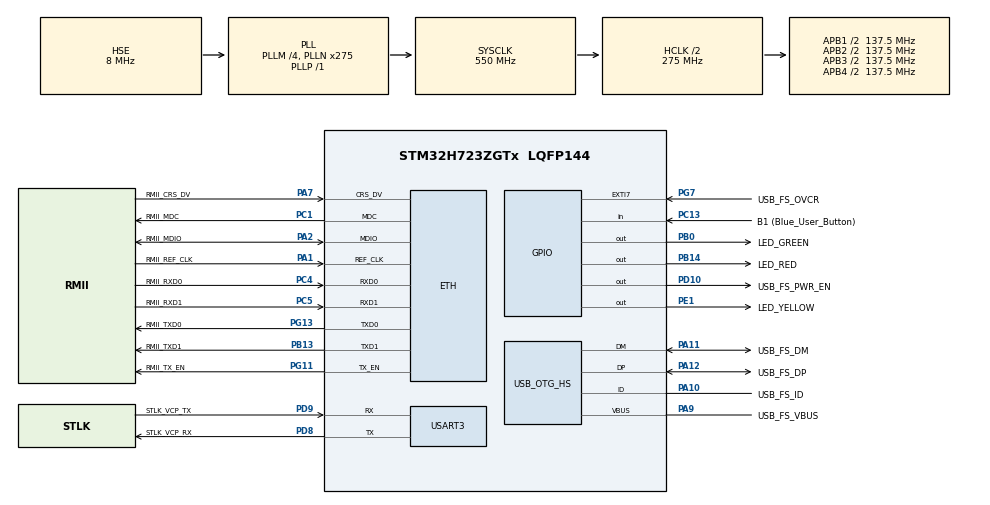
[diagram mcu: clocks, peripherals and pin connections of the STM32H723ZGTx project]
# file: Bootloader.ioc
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ETH.MediaInterface=HAL_ETH_RMII_MODE
Mcu.Family=STM32H7
Mcu.Name=STM32H723ZGTx
Mcu.Package=LQFP144
NVIC.PriorityGroup=NVIC_PRIORITYGROUP_4
PA1.GPIO_Label=RMII_REF_CLK
PA1.Mode=RMII
PA1.Signal=ETH_REF_CLK
PA10.GPIO_Label=USB_FS_ID
PA10.Mode=OTG/Dual-Role-Device-FS
PA10.Signal=USB_OTG_HS_ID
PA11.GPIO_Label=USB_FS_DM
PA11.Mode=OTG/Dual-Role-Device-FS
PA11.Signal=USB_OTG_HS_DM
PA12.GPIO_Label=USB_FS_DP
PA12.Mode=OTG/Dual-Role-Device-FS
PA12.Signal=USB_OTG_HS_DP
PA13(JTMS/SWDIO).GPIO_Label=SWDIO
PA13(JTMS/SWDIO).Mode=Trace_Asynchronous_SW
PA13(JTMS/SWDIO).Signal=DEBUG_JTMS-SWDIO
PA14(JTCK/SWCLK).GPIO_Label=SWCLK
PA14(JTCK/SWCLK).Mode=Trace_Asynchronous_SW
PA14(JTCK/SWCLK).Signal=DEBUG_JTCK-SWCLK
PA2.GPIO_Label=RMII_MDIO
PA2.Mode=RMII
PA2.Signal=ETH_MDIO
PA7.GPIO_Label=RMII_CRS_DV
PA7.Mode=RMII
PA7.Signal=ETH_CRS_DV
PA9.GPIO_Label=USB_FS_VBUS
PA9.Mode=Activate_VBUS_FS
PA9.Signal=USB_OTG_HS_VBUS
PB0.GPIO_Label=LED_GREEN
PB0.Signal=GPIO_Output
PB13.GPIO_Label=RMII_TXD1
PB13.Mode=RMII
PB13.Signal=ETH_TXD1
PB14.GPIO_Label=LED_RED
PB14.Signal=GPIO_Output
PB3(JTDO/TRACESWO).GPIO_Label=SWO
PB3(JTDO/TRACESWO).Mode=Trace_Asynchronous_SW
PB3(JTDO/TRACESWO).Signal=DEBUG_JTDO-SWO
PC1.GPIO_Label=RMII_MDC
PC1.Mode=RMII
PC1.Signal=ETH_MDC
PC13.GPIO_Label=B1 (Blue_User_Button)
PC13.Signal=GPIO_Input
PC14-OSC32_IN.Mode=LSE-External-Oscillator
PC14-OSC32_IN.Signal=RCC_OSC32_IN
PC15-OSC32_OUT.Mode=LSE-External-Oscillator
PC15-OSC32_OUT.Signal=RCC_OSC32_OUT
PC4.GPIO_Label=RMII_RXD0
PC4.Mode=RMII
PC4.Signal=ETH_RXD0
PC5.GPIO_Label=RMII_RXD1
PC5.Mode=RMII
PC5.Signal=ETH_RXD1
PD10.GPIO_Label=USB_FS_PWR_EN
PD10.Signal=GPIO_Output
PD8.GPIO_Label=STLK_VCP_RX
PD8.Mode=Asynchronous
PD8.Signal=USART3_TX
PD9.GPIO_Label=STLK_VCP_TX
PD9.Mode=Asynchronous
PD9.Signal=USART3_RX
PE1.GPIO_Label=LED_YELLOW
PE1.Signal=GPIO_Output
PG11.GPIO_Label=RMII_TX_EN
PG11.Mode=RMII
PG11.Signal=ETH_TX_EN
PG13.GPIO_Label=RMII_TXD0
PG13.Mode=RMII
PG13.Signal=ETH_TXD0
PG7.GPIO_Label=USB_FS_OVCR
PG7.Signal=GPXTI7
PH0-OSC_IN.GPIO_Label=MCO
PH0-OSC_IN.Mode=HSE-External-Clock-Source
PH0-OSC_IN.Signal=RCC_OSC_IN
PH1-OSC_OUT.Signal=RCC_OSC_OUT
ProjectManager.HeapSize=0x200
ProjectManager.StackSize=0x400
ProjectManager.TargetToolchain=STM32CubeIDE
RCC.ADCFreq_Value=76000000
RCC.APB1Freq_Value=137500000
RCC.APB2Freq_Value=137500000
RCC.APB3Freq_Value=137500000
RCC.APB4Freq_Value=137500000
RCC.CortexFreq_Value=550000000
RCC.D1PPRE=RCC_APB3_DIV2
RCC.D2PPRE1=RCC_APB1_DIV2
RCC.D2PPRE2=RCC_APB2_DIV2
RCC.D3PPRE=RCC_APB4_DIV2
RCC.DIVM1=4
RCC.DIVM2=1
RCC.DIVN1=275
RCC.DIVN2=19
RCC.DIVP1=1
RCC.DIVQ1=4
RCC.HCLKFreq_Value=275000000
RCC.HPRE=RCC_HCLK_DIV2
RCC.HSE_VALUE=8000000
RCC.PLLFRACN=0
RCC.PLLSourceVirtual=RCC_PLLSOURCE_HSE
RCC.SYSCLKFreq_VALUE=550000000
RCC.SYSCLKSource=RCC_SYSCLKSOURCE_PLLCLK
RCC.USBCLockSelection=RCC_USBCLKSOURCE_HSI48
RCC.USBFreq_Value=48000000
USART3.VirtualMode-Asynchronous=VM_ASYNC
board=NUCLEO-H723ZG

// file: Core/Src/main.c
/* USER CODE BEGIN Header */
/**
  ******************************************************************************
  * @file           : main.c
  * @brief          : Main program body
  ******************************************************************************
  * @attention
  *
  * <h2><center>&copy; Copyright (c) 2025 STMicroelectronics.
  * All rights reserved.</center></h2>
  *
  * This software component is licensed by ST under BSD 3-Clause license,
  * the "License"; You may not use this file except in compliance with the
  * License. You may obtain a copy of the License at:
  *                        opensource.org/licenses/BSD-3-Clause
  *
  ******************************************************************************
  */
/* USER CODE END Header */
#include "main.h"
#include "string.h"
#include <stdio.h>

#if defined ( __ICCARM__ ) /*!< IAR Compiler */

#pragma location=0x30040000
ETH_DMADescTypeDef  DMARxDscrTab[ETH_RX_DESC_CNT]; /* Ethernet Rx DMA Descriptors */
#pragma location=0x30040060
ETH_DMADescTypeDef  DMATxDscrTab[ETH_TX_DESC_CNT]; /* Ethernet Tx DMA Descriptors */
#pragma location=0x30040200
uint8_t Rx_Buff[ETH_RX_DESC_CNT][ETH_MAX_PACKET_SIZE]; /* Ethernet Receive Buffers */

#elif defined ( __CC_ARM )  /* MDK ARM Compiler */

__attribute__((at(0x30040000))) ETH_DMADescTypeDef  DMARxDscrTab[ETH_RX_DESC_CNT]; /* Ethernet Rx DMA Descriptors */
__attribute__((at(0x30040060))) ETH_DMADescTypeDef  DMATxDscrTab[ETH_TX_DESC_CNT]; /* Ethernet Tx DMA Descriptors */
__attribute__((at(0x30040200))) uint8_t Rx_Buff[ETH_RX_DESC_CNT][ETH_MAX_PACKET_SIZE]; /* Ethernet Receive Buffer */

#elif defined ( __GNUC__ ) /* GNU Compiler */

ETH_DMADescTypeDef DMARxDscrTab[ETH_RX_DESC_CNT] __attribute__((section(".RxDecripSection"))); /* Ethernet Rx DMA Descriptors */
ETH_DMADescTypeDef DMATxDscrTab[ETH_TX_DESC_CNT] __attribute__((section(".TxDecripSection")));   /* Ethernet Tx DMA Descriptors */
uint8_t Rx_Buff[ETH_RX_DESC_CNT][ETH_MAX_PACKET_SIZE] __attribute__((section(".RxArraySection"))); /* Ethernet Receive Buffers */

#endif

ETH_TxPacketConfig TxConfig;

ETH_HandleTypeDef heth;

UART_HandleTypeDef huart3;

void SystemClock_Config(void);
static void MX_GPIO_Init(void);
static void MX_ETH_Init(void);
static void MX_USART3_UART_Init(void);
static void MX_USB_OTG_HS_USB_Init(void);

/* USER CODE BEGIN 0 */
static void goto_application(void);
/* USER CODE END 0 */

int main(void)
{

  /* MCU Configuration--------------------------------------------------------*/

  /* Reset of all peripherals, Initializes the Flash interface and the Systick. */
  HAL_Init();

  /* Configure the system clock */
  SystemClock_Config();

  /* Initialize all configured peripherals */
  MX_GPIO_Init();
  MX_ETH_Init();
  MX_USART3_UART_Init();
  MX_USB_OTG_HS_USB_Init();
  /* USER CODE BEGIN 2 */
  printf("starting bootloader \r\n");
  HAL_GPIO_WritePin(GPIOB,GPIO_PIN_0,GPIO_PIN_SET);
  HAL_Delay(2000);
  goto_application();

  /* USER CODE END 2 */

  /* Infinite loop */
  while (1)
  {

  }
}

void SystemClock_Config(void)
{
  RCC_OscInitTypeDef RCC_OscInitStruct = {0};
  RCC_ClkInitTypeDef RCC_ClkInitStruct = {0};

  /** Supply configuration update enable
  */
  HAL_PWREx_ConfigSupply(PWR_LDO_SUPPLY);
  /** Configure the main internal regulator output voltage
  */
  __HAL_PWR_VOLTAGESCALING_CONFIG(PWR_REGULATOR_VOLTAGE_SCALE0);

  while(!__HAL_PWR_GET_FLAG(PWR_FLAG_VOSRDY)) {}
  /** Initializes the RCC Oscillators according to the specified parameters
  * in the RCC_OscInitTypeDef structure.
  */
  RCC_OscInitStruct.OscillatorType = RCC_OSCILLATORTYPE_HSI48|RCC_OSCILLATORTYPE_HSE;
  RCC_OscInitStruct.HSEState = RCC_HSE_BYPASS;
  RCC_OscInitStruct.HSI48State = RCC_HSI48_ON;
  RCC_OscInitStruct.PLL.PLLState = RCC_PLL_ON;
  RCC_OscInitStruct.PLL.PLLSource = RCC_PLLSOURCE_HSE;
  RCC_OscInitStruct.PLL.PLLM = 4;
  RCC_OscInitStruct.PLL.PLLN = 275;
  RCC_OscInitStruct.PLL.PLLP = 1;
  RCC_OscInitStruct.PLL.PLLQ = 4;
  RCC_OscInitStruct.PLL.PLLR = 2;
  RCC_OscInitStruct.PLL.PLLRGE = RCC_PLL1VCIRANGE_1;
  RCC_OscInitStruct.PLL.PLLVCOSEL = RCC_PLL1VCOWIDE;
  RCC_OscInitStruct.PLL.PLLFRACN = 0;
  if (HAL_RCC_OscConfig(&RCC_OscInitStruct) != HAL_OK)
  {
    Error_Handler();
  }
  /** Initializes the CPU, AHB and APB buses clocks
  */
  RCC_ClkInitStruct.ClockType = RCC_CLOCKTYPE_HCLK|RCC_CLOCKTYPE_SYSCLK
                              |RCC_CLOCKTYPE_PCLK1|RCC_CLOCKTYPE_PCLK2
                              |RCC_CLOCKTYPE_D3PCLK1|RCC_CLOCKTYPE_D1PCLK1;
  RCC_ClkInitStruct.SYSCLKSource = RCC_SYSCLKSOURCE_PLLCLK;
  RCC_ClkInitStruct.SYSCLKDivider = RCC_SYSCLK_DIV1;
  RCC_ClkInitStruct.AHBCLKDivider = RCC_HCLK_DIV2;
  RCC_ClkInitStruct.APB3CLKDivider = RCC_APB3_DIV2;
  RCC_ClkInitStruct.APB1CLKDivider = RCC_APB1_DIV2;
  RCC_ClkInitStruct.APB2CLKDivider = RCC_APB2_DIV2;
  RCC_ClkInitStruct.APB4CLKDivider = RCC_APB4_DIV2;

  if (HAL_RCC_ClockConfig(&RCC_ClkInitStruct, FLASH_LATENCY_3) != HAL_OK)
  {
    Error_Handler();
  }
}

static void MX_ETH_Init(void)
{

   static uint8_t MACAddr[6];

  heth.Instance = ETH;
  MACAddr[0] = 0x00;
  MACAddr[1] = 0x80;
  MACAddr[2] = 0xE1;
  MACAddr[3] = 0x00;
  MACAddr[4] = 0x00;
  MACAddr[5] = 0x00;
  heth.Init.MACAddr = &MACAddr[0];
  heth.Init.MediaInterface = HAL_ETH_RMII_MODE;
  heth.Init.TxDesc = DMATxDscrTab;
  heth.Init.RxDesc = DMARxDscrTab;
  heth.Init.RxBuffLen = 1524;

  if (HAL_ETH_Init(&heth) != HAL_OK)
  {
    Error_Handler();
  }

  memset(&TxConfig, 0 , sizeof(ETH_TxPacketConfig));
  TxConfig.Attributes = ETH_TX_PACKETS_FEATURES_CSUM | ETH_TX_PACKETS_FEATURES_CRCPAD;
  TxConfig.ChecksumCtrl = ETH_CHECKSUM_IPHDR_PAYLOAD_INSERT_PHDR_CALC;
  TxConfig.CRCPadCtrl = ETH_CRC_PAD_INSERT;

}

static void MX_USART3_UART_Init(void)
{

  huart3.Instance = USART3;
  huart3.Init.BaudRate = 115200;
  huart3.Init.WordLength = UART_WORDLENGTH_8B;
  huart3.Init.StopBits = UART_STOPBITS_1;
  huart3.Init.Parity = UART_PARITY_NONE;
  huart3.Init.Mode = UART_MODE_TX_RX;
  huart3.Init.HwFlowCtl = UART_HWCONTROL_NONE;
  huart3.Init.OverSampling = UART_OVERSAMPLING_16;
  huart3.Init.OneBitSampling = UART_ONE_BIT_SAMPLE_DISABLE;
  huart3.Init.ClockPrescaler = UART_PRESCALER_DIV1;
  huart3.AdvancedInit.AdvFeatureInit = UART_ADVFEATURE_NO_INIT;
  if (HAL_UART_Init(&huart3) != HAL_OK)
  {
    Error_Handler();
  }
  if (HAL_UARTEx_SetTxFifoThreshold(&huart3, UART_TXFIFO_THRESHOLD_1_8) != HAL_OK)
  {
    Error_Handler();
  }
  if (HAL_UARTEx_SetRxFifoThreshold(&huart3, UART_RXFIFO_THRESHOLD_1_8) != HAL_OK)
  {
    Error_Handler();
  }
  if (HAL_UARTEx_DisableFifoMode(&huart3) != HAL_OK)
  {
    Error_Handler();
  }

}

static void MX_USB_OTG_HS_USB_Init(void)
{

}

static void MX_GPIO_Init(void)
{
  GPIO_InitTypeDef GPIO_InitStruct = {0};

  /* GPIO Ports Clock Enable */
  __HAL_RCC_GPIOC_CLK_ENABLE();
  __HAL_RCC_GPIOH_CLK_ENABLE();
  __HAL_RCC_GPIOA_CLK_ENABLE();
  __HAL_RCC_GPIOB_CLK_ENABLE();
  __HAL_RCC_GPIOD_CLK_ENABLE();
  __HAL_RCC_GPIOG_CLK_ENABLE();
  __HAL_RCC_GPIOE_CLK_ENABLE();

  /*Configure GPIO pin Output Level */
  HAL_GPIO_WritePin(GPIOB, LED_GREEN_Pin|LED_RED_Pin, GPIO_PIN_RESET);

  /*Configure GPIO pin Output Level */
  HAL_GPIO_WritePin(USB_FS_PWR_EN_GPIO_Port, USB_FS_PWR_EN_Pin, GPIO_PIN_RESET);

  /*Configure GPIO pin Output Level */
  HAL_GPIO_WritePin(LED_YELLOW_GPIO_Port, LED_YELLOW_Pin, GPIO_PIN_RESET);

  /*Configure GPIO pin : B1_Pin */
  GPIO_InitStruct.Pin = B1_Pin;
  GPIO_InitStruct.Mode = GPIO_MODE_INPUT;
  GPIO_InitStruct.Pull = GPIO_NOPULL;
  HAL_GPIO_Init(B1_GPIO_Port, &GPIO_InitStruct);

  /*Configure GPIO pins : LED_GREEN_Pin LED_RED_Pin */
  GPIO_InitStruct.Pin = LED_GREEN_Pin|LED_RED_Pin;
  GPIO_InitStruct.Mode = GPIO_MODE_OUTPUT_PP;
  GPIO_InitStruct.Pull = GPIO_NOPULL;
  GPIO_InitStruct.Speed = GPIO_SPEED_FREQ_LOW;
  HAL_GPIO_Init(GPIOB, &GPIO_InitStruct);

  /*Configure GPIO pin : USB_FS_PWR_EN_Pin */
  GPIO_InitStruct.Pin = USB_FS_PWR_EN_Pin;
  GPIO_InitStruct.Mode = GPIO_MODE_OUTPUT_PP;
  GPIO_InitStruct.Pull = GPIO_NOPULL;
  GPIO_InitStruct.Speed = GPIO_SPEED_FREQ_LOW;
  HAL_GPIO_Init(USB_FS_PWR_EN_GPIO_Port, &GPIO_InitStruct);

  /*Configure GPIO pin : USB_FS_OVCR_Pin */
  GPIO_InitStruct.Pin = USB_FS_OVCR_Pin;
  GPIO_InitStruct.Mode = GPIO_MODE_IT_RISING;
  GPIO_InitStruct.Pull = GPIO_NOPULL;
  HAL_GPIO_Init(USB_FS_OVCR_GPIO_Port, &GPIO_InitStruct);

  /*Configure GPIO pin : USB_FS_VBUS_Pin */
  GPIO_InitStruct.Pin = USB_FS_VBUS_Pin;
  GPIO_InitStruct.Mode = GPIO_MODE_INPUT;
  GPIO_InitStruct.Pull = GPIO_NOPULL;
  HAL_GPIO_Init(USB_FS_VBUS_GPIO_Port, &GPIO_InitStruct);

  /*Configure GPIO pin : USB_FS_ID_Pin */
  GPIO_InitStruct.Pin = USB_FS_ID_Pin;
  GPIO_InitStruct.Mode = GPIO_MODE_AF_PP;
  GPIO_InitStruct.Pull = GPIO_NOPULL;
  GPIO_InitStruct.Speed = GPIO_SPEED_FREQ_LOW;
  GPIO_InitStruct.Alternate = GPIO_AF10_OTG1_HS;
  HAL_GPIO_Init(USB_FS_ID_GPIO_Port, &GPIO_InitStruct);

  /*Configure GPIO pin : LED_YELLOW_Pin */
  GPIO_InitStruct.Pin = LED_YELLOW_Pin;
  GPIO_InitStruct.Mode = GPIO_MODE_OUTPUT_PP;
  GPIO_InitStruct.Pull = GPIO_NOPULL;
  GPIO_InitStruct.Speed = GPIO_SPEED_FREQ_LOW;
  HAL_GPIO_Init(LED_YELLOW_GPIO_Port, &GPIO_InitStruct);

}

/* USER CODE BEGIN 4 */

int _write(int file, char *ptr,int len)
{
int DataIdx;
for(DataIdx=0;DataIdx<len;DataIdx++){
HAL_UART_Transmit(&huart3,(uint8_t *)ptr++,1,100);
}
return len;
}

static void goto_application(void){
	printf("jump to application\r\n");
	void(*app_reset_handler)(void)=(void*) (*(volatile uint32_t *)(0x08040000+4));///this is the application reset handler address
	HAL_GPIO_WritePin(GPIOB,GPIO_PIN_0,GPIO_PIN_RESET);
	app_reset_handler();//// create application and place it in the ,memeory

}
/* USER CODE END 4 */

void Error_Handler(void)
{
  __disable_irq();
  while (1)
  {
  }
}

/************************ (C) COPYRIGHT STMicroelectronics *****END OF FILE****/
